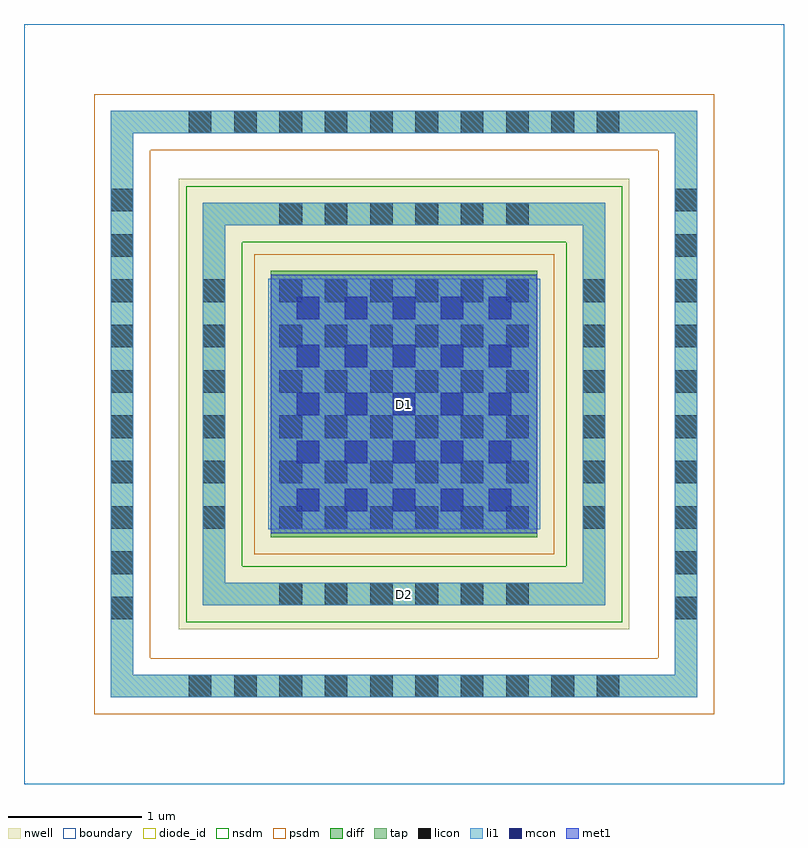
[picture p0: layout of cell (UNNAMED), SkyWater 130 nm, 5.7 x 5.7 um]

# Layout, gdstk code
import gdstk
lib = gdstk.Library(unit=1e-6, precision=1e-09)
def R(c, l, rs):  # rectangles x0, y0, x1, y1
    for r in rs: c.add(gdstk.rectangle(r[:2], r[2:], *l))
def A(c, l, x, y, w, h, nx, ny, dx, dy):  # array of equal rectangles
    R(c, l, [(x+i*dx, y+j*dy, x+i*dx+w, y+j*dy+h) for i in range(nx) for j in range(ny)])
nwell = (64, 20)
diff = (65, 20)
tap = (65, 44)
licon = (66, 44)
li1 = (67, 20)
mcon = (67, 44)
met1 = (68, 20)
diode_id = (81, 23)
nsdm = (93, 44)
psdm = (94, 20)
boundary = (235, 4)

c__unnamed_ = lib.new_cell('(UNNAMED)')
R(c__unnamed_, nwell, [(-1.69,-1.69,1.69,1.69)])
R(c__unnamed_, diff, [(-1,-1,1,1)])
R(c__unnamed_, tap, [(-2.2,-2.2,2.2,-2.03), (-2.2,-2.03,-2.03,2.03), (2.03,-2.03,2.2,2.03), (-1.51,-1.51,1.51,-1.34), (-1.51,-1.34,-1.34,1.34), (1.34,-1.34,1.51,1.34), (-1.51,1.34,1.51,1.51), (-2.2,2.03,2.2,2.2)])
A(c__unnamed_, licon, -1.615, -2.2, 0.17, 0.17, 10, 2, 0.34, 4.23)
A(c__unnamed_, licon, -2.2, -1.615, 0.17, 0.17, 1, 10, 0, 0.34)
A(c__unnamed_, licon, 2.03, -1.615, 0.17, 0.17, 1, 10, 0, 0.34)
A(c__unnamed_, licon, -0.935, -1.51, 0.17, 0.17, 6, 2, 0.34, 0.575)
A(c__unnamed_, licon, -1.51, -0.935, 0.17, 0.17, 1, 6, 0, 0.34)
A(c__unnamed_, licon, 1.34, -0.935, 0.17, 0.17, 1, 6, 0, 0.34)
A(c__unnamed_, licon, -0.935, -0.595, 0.17, 0.17, 6, 5, 0.34, 0.34)
A(c__unnamed_, licon, -0.935, 1.34, 0.17, 0.17, 6, 1, 0.34, 0)
R(c__unnamed_, li1, [(-2.2,-2.2,2.2,-2.03), (-2.2,-2.03,-2.03,2.03), (2.03,-2.03,2.2,2.03), (-1.51,-1.51,1.51,-1.34), (-1.51,-1.34,-1.34,1.34), (1.34,-1.34,1.51,1.34), (-1.02,-0.94,1.02,0.94), (-1.51,1.34,1.51,1.51), (-2.2,2.03,2.2,2.2)])
A(c__unnamed_, mcon, -0.805, -0.805, 0.17, 0.17, 5, 5, 0.36, 0.36)
R(c__unnamed_, met1, [(-1,-0.97,1,0.97)])
R(c__unnamed_, diode_id, [(-1,-1,1,1)])
R(c__unnamed_, nsdm, [(-1.635,-1.635,1.635,-1.215), (-1.635,-1.215,-1.215,1.215), (1.215,-1.215,1.635,1.215), (-1.635,1.215,1.635,1.635)])
R(c__unnamed_, psdm, [(-2.325,-2.325,2.325,-1.905), (-2.325,-1.905,-1.905,1.905), (1.905,-1.905,2.325,1.905), (-1.125,-1.125,1.125,1.125), (-2.325,1.905,2.325,2.325)])
R(c__unnamed_, boundary, [(-2.85,-2.85,2.85,2.85)])
c__unnamed_.add(gdstk.Label('D2', (0,-1.425), layer=67, texttype=5))
c__unnamed_.add(gdstk.Label('D1', (0,0), layer=67, texttype=5))

lib.write_gds('_UNNAMED_.gds')
